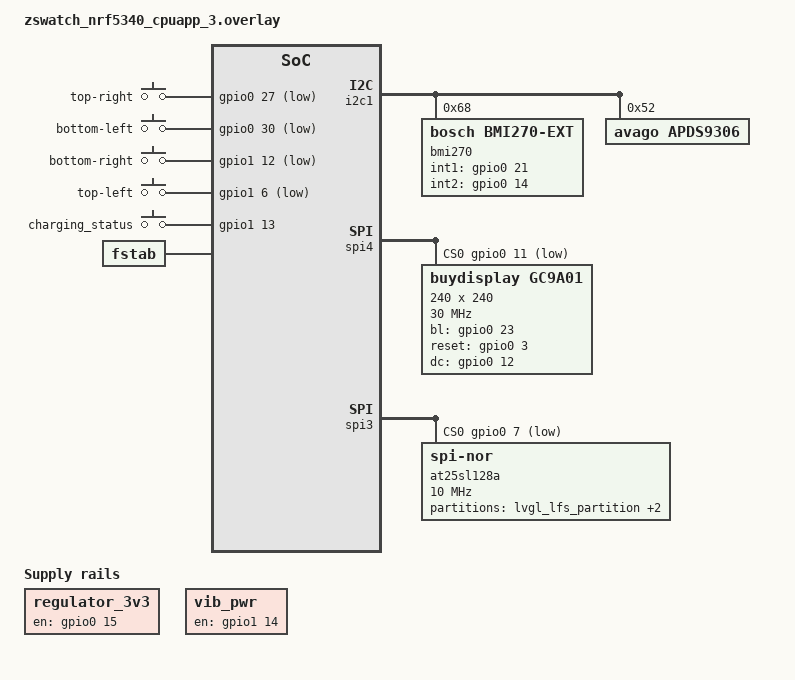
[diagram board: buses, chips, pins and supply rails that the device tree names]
&pinctrl {
	pwm0_default: pwm0_default {
		group1 {
			psels = <NRF_PSEL(PWM_OUT0, 0, 23)>;
		};
	};

	pwm0_sleep: pwm0_sleep {
		group1 {
			psels = <NRF_PSEL(PWM_OUT0, 0, 23)>;
			low-power-enable;
		};
	};

};

&uicr {
    nfct-pins-as-gpios;
};

/ {
	chosen {
		nordic,pm-ext-flash = &at25sl128a;
	};

	aliases {
		spi-flash0 = &at25sl128a;
	};

    longpress: longpress {
        input = <&buttons>;
        compatible = "zephyr,input-longpress";
        input-codes = <INPUT_KEY_KP0>;
        short-codes = <INPUT_KEY_4>;
        long-codes = <INPUT_KEY_Y>;
        long-delay-ms = <1000>;
    };

	buttons: buttons {
        compatible = "gpio-keys";
        button1: button_1 {
            label = "top-right";
            gpios = <&gpio0 27 (GPIO_PULL_UP | GPIO_ACTIVE_LOW)>;
            zephyr,code = <INPUT_KEY_1>;
        };
        button2: button_2 {
            label = "bottom-left";
            gpios = <&gpio0 30 (GPIO_PULL_UP | GPIO_ACTIVE_LOW)>;
            zephyr,code = <INPUT_KEY_2>;
        };
        button3: button_3 {
            label = "bottom-right";
            gpios = <&gpio1 12 (GPIO_PULL_UP | GPIO_ACTIVE_LOW)>;
            zephyr,code = <INPUT_KEY_3>;
        };
        button4: button_4 {
            label = "top-left";
            gpios = <&gpio1 6 (GPIO_PULL_UP | GPIO_ACTIVE_LOW)>;
            zephyr,code = <INPUT_KEY_KP0>;
        };
    };

	charger {
        compatible = "gpio-keys";
        charging_status: charging_status {
            gpios = <&gpio1 13 (GPIO_PULL_UP | GPIO_ACTIVE_HIGH)>;
            zephyr,code = <INPUT_KEY_POWER>;
        };
    };

	regulator_3v3: regulator-3v3-ctrl {
        compatible = "regulator-fixed";
        regulator-name = "display";
        enable-gpios = <&gpio0 15 GPIO_ACTIVE_HIGH>;
        regulator-boot-on;
        startup-delay-us = < 50000 >;
    };

	vib_pwr: vib-pwr-ctrl {
        compatible = "regulator-fixed";
        regulator-name = "vib-pwr-ctrl";
        enable-gpios = <&gpio1 14 GPIO_ACTIVE_HIGH>;
    };

};

&i2c1 {
    bmi270: bmi270@68 {
        compatible = "bosch,bmi270-ext";
        reg = <0x68>;
        int1-gpios = <&gpio0 21 GPIO_ACTIVE_HIGH>;
        int2-gpios = <&gpio0 14 GPIO_ACTIVE_HIGH>;
    };

    apds9306: apds9306@52 {
        compatible = "avago,apds9306";
        reg = <0x52>;
        status = "okay";
    };
};

&spi4  {
    status = "okay";
    compatible = "nordic,nrf-spim";
    pinctrl-0 = <&spi4_default>;
    pinctrl-1 = <&spi4_sleep>;
    pinctrl-names = "default", "sleep";
    cs-gpios = <&gpio0 11 GPIO_ACTIVE_LOW>;

    gc9a01: gc9a01@0 {
        compatible = "buydisplay,gc9a01";
        status = "okay";
        spi-max-frequency = <30000000>;
        reg = <0>;
        width = <240>;
        height = <240>;
        bl-gpios = <&gpio0 23 GPIO_ACTIVE_HIGH>;
        reset-gpios = <&gpio0 3 GPIO_ACTIVE_HIGH>;
        dc-gpios = <&gpio0 12 GPIO_ACTIVE_HIGH>;
    };

};

&spi3  {
    status = "okay";
    compatible = "nordic,nrf-spim";
    pinctrl-0 = <&spi3_default>;
    pinctrl-1 = <&spi3_sleep>;
    pinctrl-names = "default", "sleep";
    cs-gpios = <&gpio0 7 GPIO_ACTIVE_LOW>;
    at25sl128a: at25sl128a@0 {
		compatible = "jedec,spi-nor";
		reg = <0>;
		status = "okay";
		spi-max-frequency = <10000000>;
		jedec-id = [ 1f 42 18];
		size = <DT_SIZE_M(16*8)>;
		has-dpd;
        // CS High to Power-Down Mode (tDP) - 3 us
        // Rev. S Table 26. AC Electrical Characteristic
		t-enter-dpd = <3000>;
        // CS High to Standby Mode without Electronic Signature Read (tRES1) 3 us
        // Rev. S Table 26. AC Electrical Characteristic
		t-exit-dpd = <3000>;
	};

};

/ {
	fstab {
		compatible = "zephyr,fstab";
		lvgl_lfs: lvgl_lfs {
			compatible = "zephyr,fstab,littlefs";
			mount-point = "/lvgl_lfs";
			partition = <&lvgl_lfs_partition>;
			automount;
			read-size = <1024>;
			prog-size = <512>;
			cache-size = <4096>;
			lookahead-size = <4096>;
			block-cycles = <512>;
		};
	};
};

/delete-node/ &storage_partition;

&at25sl128a {
	partitions {
		compatible = "fixed-partitions";
		#address-cells = <1>;
		#size-cells = <1>;

		lvgl_lfs_partition: partition@0 {
			label = "lvgl_lfs_partition";
			reg = <0x00000000 0x00200000>;
		};
		lvgl_raw_partition: partition@200000 {
			label = "lvgl_raw_partition";
			reg = <0x00200000 0x00200000>;
		};
        storage_partition: partition@400000 {
            label = "storage_partition";
            reg = <0x400000 0x100000 >;
        };
	};
};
